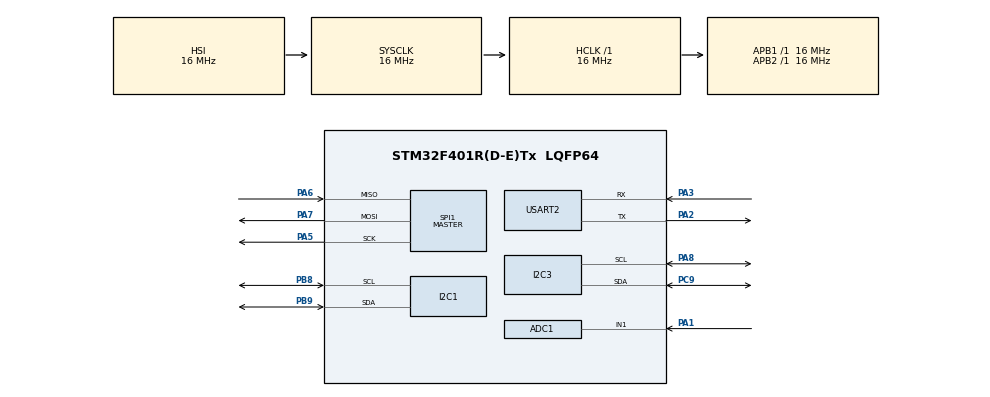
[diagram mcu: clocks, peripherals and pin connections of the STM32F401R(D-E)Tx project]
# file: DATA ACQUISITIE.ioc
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ADC1.Channel-0\#ChannelRegularConversion=ADC_CHANNEL_1
ADC1.NbrOfConversionFlag=1
ADC1.Rank-0\#ChannelRegularConversion=1
ADC1.SamplingTime-0\#ChannelRegularConversion=ADC_SAMPLETIME_3CYCLES
ADC1.master=1
Mcu.Family=STM32F4
Mcu.Name=STM32F401R(D-E)Tx
Mcu.Package=LQFP64
NVIC.PriorityGroup=NVIC_PRIORITYGROUP_4
PA1.Signal=ADCx_IN1
PA2.Mode=Asynchronous
PA2.Signal=USART2_TX
PA3.Mode=Asynchronous
PA3.Signal=USART2_RX
PA5.Mode=Full_Duplex_Master
PA5.Signal=SPI1_SCK
PA6.Mode=Full_Duplex_Master
PA6.Signal=SPI1_MISO
PA7.Mode=Full_Duplex_Master
PA7.Signal=SPI1_MOSI
PA8.Mode=I2C
PA8.Signal=I2C3_SCL
PB8.Mode=I2C
PB8.Signal=I2C1_SCL
PB9.Mode=I2C
PB9.Signal=I2C1_SDA
PC14-OSC32_IN.Mode=LSE-External-Oscillator
PC14-OSC32_IN.Signal=RCC_OSC32_IN
PC15-OSC32_OUT.Mode=LSE-External-Oscillator
PC15-OSC32_OUT.Signal=RCC_OSC32_OUT
PC9.Mode=I2C
PC9.Signal=I2C3_SDA
PH0\ -\ OSC_IN.Mode=HSE-External-Clock-Source
PH0\ -\ OSC_IN.Signal=RCC_OSC_IN
PH1\ -\ OSC_OUT.Mode=HSE-External-Clock-Source
PH1\ -\ OSC_OUT.Signal=RCC_OSC_OUT
ProjectManager.HeapSize=0x200
ProjectManager.StackSize=0x400
ProjectManager.TargetToolchain=STM32CubeIDE
RCC.AHBFreq_Value=16000000
RCC.APB1Freq_Value=16000000
RCC.APB2Freq_Value=16000000
RCC.CortexFreq_Value=16000000
RCC.HSE_VALUE=25000000
RCC.HSI_VALUE=16000000
RCC.SYSCLKFreq_VALUE=16000000
RCC.VCOOutputFreq_Value=192000000
SH.ADCx_IN1.0=ADC1_IN1,IN1
SPI1.Direction=SPI_DIRECTION_2LINES
SPI1.Mode=SPI_MODE_MASTER
SPI1.VirtualType=VM_MASTER
USART2.VirtualMode=VM_ASYNC
board=custom

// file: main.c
/* USER CODE BEGIN Header */
/**
  ******************************************************************************
  * @file           : main.c
  * @brief          : Main program body
  ******************************************************************************
  * @attention
  *
  * Copyright (c) 2024 STMicroelectronics.
  * All rights reserved.
  *
  * This software is licensed under terms that can be found in the LICENSE file
  * in the root directory of this software component.
  * If no LICENSE file comes with this software, it is provided AS-IS.
  *
  ******************************************************************************
  */
/* USER CODE END Header */
#include "main.h"

/* USER CODE BEGIN Includes */
#include <string.h>
#include <stdio.h>
#include <math.h>

#define BMP390_ADDR 0x77
#define BMP390_CHIP_ID_REG 0x00
#define BMP390_TEMP_DATA_REG 0x07  // Starting register for temperature data
#define BMP390_PRESS_DATA_REG 0x04 // Starting register for pressure data
#define BMP390_CTRL_MEAS_REG 0x1B
#define BMP390_CONFIG_REG 0x1F
#define BMP390_STATUS_REG 0x03
#define BMP390_SENSOR_TIME_0_REG 0x0C
#define BMP390_SENSOR_TIME_1_REG 0x0D
#define BMP390_SENSOR_TIME_2_REG 0x0E
#define BMP390_INT_CTRL_REG 0x19
#define BMP390_PWR_CTRL_REG 0x1B
#define BMP390_OSR_REG 0x1C
/* USER CODE END Includes */

/* USER CODE BEGIN PTD */
typedef struct {
	float par_t1;
	float par_t2;
	float par_t3;
	float par_p1;
	float par_p2;
	float par_p3;
	float par_p4;
	float par_p5;
	float par_p6;
	float par_p7;
	float par_p8;
	float par_p9;
	float par_p10;
	float par_p11;
	float t_lin;
} BMP390_CalibData;

BMP390_CalibData calib_data;

/* USER CODE END PTD */

ADC_HandleTypeDef hadc1;

I2C_HandleTypeDef hi2c1;
I2C_HandleTypeDef hi2c3;

SPI_HandleTypeDef hspi1;

UART_HandleTypeDef huart2;

/* USER CODE BEGIN PV */
//CO2-sensor//
uint8_t CO2_ADDR = 0x70 << 1;
uint8_t CO2_REG = 0x0C;
//light-sensor//
uint16_t lightLevel = 0;
char lightLevelBuf[20];
//temperature and humidity//
static const uint8_t HIH7120_ADDR =  0x27 << 1;
//static const uint8_t REG_TEMP = 0x00;

//druksensor//
void BMP390_init();
void BMP390_ReadCalibrationData();
float BMP390_CompensateTemperature(uint32_t uncomp_temp);
float BMP390_CompensatePressure(uint32_t uncomp_press);
uint32_t BMP390_Read24BitData(uint8_t reg_addr);
void USART_Print(char *string);
int8_t i2c_read(uint8_t reg_addr, uint8_t *reg_data, uint32_t len, void *intf_ptr);
int8_t i2c_write(uint8_t reg_addr, const uint8_t *reg_data, uint32_t len, void *intf_ptr);

//spi connection//
uint8_t txData[100];

/* USER CODE END PV */

void SystemClock_Config(void);
static void MX_GPIO_Init(void);
static void MX_ADC1_Init(void);
static void MX_I2C1_Init(void);
static void MX_I2C3_Init(void);
static void MX_SPI1_Init(void);
static void MX_USART2_UART_Init(void);
/* USER CODE BEGIN PFP */
HAL_StatusTypeDef SPI_SendData(uint8_t* data, uint16_t size);
/* USER CODE END PFP */

int main(void)
{

  /* USER CODE BEGIN 1 */
	//temperature and humidity//
	float humidity;
	float temperature;
	HAL_StatusTypeDef ret;
	int16_t val;
	uint16_t temp_c;
	uint8_t inputbuff[4];
	uint8_t buf[50];
	uint8_t reg; reg = 0x00;

	//CO2-sensor//
	uint16_t valueCO2 = 0;
	uint16_t valueVOC = 0;
	uint8_t CO2Read[34];

	//light-sensor//
	uint8_t buf2[12];
	uint16_t lightLevel = 0;
	char lightLevelBuf[20];
	uint8_t tx_Data[100];
  /* USER CODE END 1 */

  /* MCU Configuration--------------------------------------------------------*/

  /* Reset of all peripherals, Initializes the Flash interface and the Systick. */
  HAL_Init();

  /* Configure the system clock */
  SystemClock_Config();

  /* Initialize all configured peripherals */
  MX_GPIO_Init();
  MX_ADC1_Init();
  MX_I2C1_Init();
  MX_I2C3_Init();
  MX_SPI1_Init();
  MX_USART2_UART_Init();

  /* Infinite loop */
  /* USER CODE BEGIN WHILE */
  while (1)
  {
	  //spi-connection//
	  sprintf((char*)txData, "Temp:%u°C,Hum:%u,CO2:%uppm,VOC:%uppb,Pressure:%uPa,Light:%ulux\r\n", (unsigned int)temperature, (unsigned int)humidity, (unsigned int)valueCO2, (unsigned int)valueVOC, (unsigned int)lightLevel);
	  if (SPI_SendData(txData, sizeof(txData)) != HAL_OK) {
		  Error_Handler();
	  }

	  //temperature and humidity sensor//
	  // Step 1: Transmit the register address (0x00) to the sensor
	  ret = HAL_I2C_Master_Transmit(&hi2c3, HIH7120_ADDR, &reg, 1, HAL_MAX_DELAY);
	  HAL_Delay(250);
	  if ( ret != HAL_OK ) {
		  strcpy((char*)buf, "Error Tx\r\n");
	  }
	  else {// Step 2: Receive 4 bytes of data from the sensor into inputbuf
		  ret = HAL_I2C_Master_Receive(&hi2c3, HIH7120_ADDR, inputbuff, 4, HAL_MAX_DELAY);
		  HAL_Delay(250);
		  if ( ret != HAL_OK ){
			  strcpy((char*)buf, "Error Rx\r\n");
		  }
		  else {
			  uint16_t raw_humidity = (((uint16_t)(inputbuff[0] & 0x3f) << 8) | inputbuff[1]);// Humidity is in the first 2 bytes
			  uint16_t raw_temperature = (((uint16_t)inputbuff[2] << 6) | (inputbuff[3] >> 2));// Temperature is in the next 2 bytes
			  humidity = ((float)raw_humidity / 16382.0) * 100.0; // Convert raw data to actual humidity and temperature values
			  temperature = ((float)raw_temperature / 16382.0) * 165.0 - 40.0;
			  snprintf(buf, sizeof(buf), "Humidity: %.2f%%, Temperature: %.2f°C\r\n", humidity, temperature);// Format the data into the buffer
			  HAL_UART_Transmit(&huart2, (uint8_t*)buf, strlen(buf), HAL_MAX_DELAY);// Transmit the formatted string over UART
		  }
		  HAL_UART_Transmit(&huart2, (uint8_t*)buf, strlen(buf), HAL_MAX_DELAY);
	  }
	  //light-sensor//
	  strcpy((char*)buf2, "Hello!\r\n");
	  HAL_UART_Transmit(&huart2, buf, strlen((char*)buf2), HAL_MAX_DELAY);
	  HAL_ADC_Start(&hadc1);
	  HAL_ADC_PollForConversion(&hadc1, 20);
	  lightLevel = HAL_ADC_GetValue(&hadc1);
	  lightLevel = lightLevel / 4.095;
	  sprintf(lightLevelBuf, "lightLevel: %hu \r\n", lightLevel);
	  HAL_UART_Transmit(&huart2, (uint8_t *)lightLevelBuf, strlen(lightLevelBuf), HAL_MAX_DELAY);
	  HAL_Delay(500);

	  //CO2-sensor//
	  CO2Read[0] = CO2_REG;
	  ret = HAL_I2C_Master_Transmit(&hi2c1, CO2_ADDR, &CO2_REG, 1, HAL_MAX_DELAY);
	  HAL_Delay(250);
	  if (ret != HAL_OK){
	   strcpy((char*)CO2Read, "Error Tx\r\n");
	  } else {
	  ret = HAL_I2C_Master_Receive(&hi2c1, CO2_ADDR, CO2Read, 2, HAL_MAX_DELAY);
	  if (ret != HAL_OK){
	  strcpy((char*)CO2Read, "Error Rx\r\n");
	  } else {
	  valueVOC = ((uint16_t)CO2Read[0] - 13) * (1000/229); //in ppb
	  valueCO2 = ((uint16_t)CO2Read[1] - 13) * (1600/229) + 400; //in ppm
	  sprintf((char*)CO2Read, "CO2: %u ppm \r\nVOC: %u ppb \r\n", (unsigned int)valueCO2, (unsigned int)valueVOC);
	  }
	  }
	  HAL_UART_Transmit(&huart2, CO2Read, strlen((char*)CO2Read), HAL_MAX_DELAY);
	  HAL_Delay(250);

	  //druksensor//
	  uint32_t temp_raw = BMP390_Read24BitData(BMP390_TEMP_DATA_REG);
	  uint32_t press_raw = BMP390_Read24BitData(BMP390_PRESS_DATA_REG);

	  float temperature = BMP390_CompensateTemperature(temp_raw);
	  float pressure = BMP390_CompensatePressure(press_raw);

	  char output[100];
	  snprintf(output, sizeof(output), "Temperature: %.2f C, Pressure: %.2f hPa\r\n", temperature, pressure);
	  USART_Print(output);

	  HAL_Delay(1000);

  }

    /* USER CODE END WHILE */

}

void SystemClock_Config(void)
{
  RCC_OscInitTypeDef RCC_OscInitStruct = {0};
  RCC_ClkInitTypeDef RCC_ClkInitStruct = {0};

  /** Configure the main internal regulator output voltage
  */
  __HAL_RCC_PWR_CLK_ENABLE();
  __HAL_PWR_VOLTAGESCALING_CONFIG(PWR_REGULATOR_VOLTAGE_SCALE2);

  /** Initializes the RCC Oscillators according to the specified parameters
  * in the RCC_OscInitTypeDef structure.
  */
  RCC_OscInitStruct.OscillatorType = RCC_OSCILLATORTYPE_HSI;
  RCC_OscInitStruct.HSIState = RCC_HSI_ON;
  RCC_OscInitStruct.HSICalibrationValue = RCC_HSICALIBRATION_DEFAULT;
  RCC_OscInitStruct.PLL.PLLState = RCC_PLL_NONE;
  if (HAL_RCC_OscConfig(&RCC_OscInitStruct) != HAL_OK)
  {
    Error_Handler();
  }

  /** Initializes the CPU, AHB and APB buses clocks
  */
  RCC_ClkInitStruct.ClockType = RCC_CLOCKTYPE_HCLK|RCC_CLOCKTYPE_SYSCLK
                              |RCC_CLOCKTYPE_PCLK1|RCC_CLOCKTYPE_PCLK2;
  RCC_ClkInitStruct.SYSCLKSource = RCC_SYSCLKSOURCE_HSI;
  RCC_ClkInitStruct.AHBCLKDivider = RCC_SYSCLK_DIV1;
  RCC_ClkInitStruct.APB1CLKDivider = RCC_HCLK_DIV1;
  RCC_ClkInitStruct.APB2CLKDivider = RCC_HCLK_DIV1;

  if (HAL_RCC_ClockConfig(&RCC_ClkInitStruct, FLASH_LATENCY_0) != HAL_OK)
  {
    Error_Handler();
  }
}

static void MX_ADC1_Init(void)
{

  ADC_ChannelConfTypeDef sConfig = {0};

  /** Configure the global features of the ADC (Clock, Resolution, Data Alignment and number of conversion)
  */
  hadc1.Instance = ADC1;
  hadc1.Init.ClockPrescaler = ADC_CLOCK_SYNC_PCLK_DIV2;
  hadc1.Init.Resolution = ADC_RESOLUTION_12B;
  hadc1.Init.ScanConvMode = DISABLE;
  hadc1.Init.ContinuousConvMode = DISABLE;
  hadc1.Init.DiscontinuousConvMode = DISABLE;
  hadc1.Init.ExternalTrigConvEdge = ADC_EXTERNALTRIGCONVEDGE_NONE;
  hadc1.Init.ExternalTrigConv = ADC_SOFTWARE_START;
  hadc1.Init.DataAlign = ADC_DATAALIGN_RIGHT;
  hadc1.Init.NbrOfConversion = 1;
  hadc1.Init.DMAContinuousRequests = DISABLE;
  hadc1.Init.EOCSelection = ADC_EOC_SINGLE_CONV;
  if (HAL_ADC_Init(&hadc1) != HAL_OK)
  {
    Error_Handler();
  }

  /** Configure for the selected ADC regular channel its corresponding rank in the sequencer and its sample time.
  */
  sConfig.Channel = ADC_CHANNEL_1;
  sConfig.Rank = 1;
  sConfig.SamplingTime = ADC_SAMPLETIME_3CYCLES;
  if (HAL_ADC_ConfigChannel(&hadc1, &sConfig) != HAL_OK)
  {
    Error_Handler();
  }

}

static void MX_I2C1_Init(void)
{

  hi2c1.Instance = I2C1;
  hi2c1.Init.ClockSpeed = 100000;
  hi2c1.Init.DutyCycle = I2C_DUTYCYCLE_2;
  hi2c1.Init.OwnAddress1 = 0;
  hi2c1.Init.AddressingMode = I2C_ADDRESSINGMODE_7BIT;
  hi2c1.Init.DualAddressMode = I2C_DUALADDRESS_DISABLE;
  hi2c1.Init.OwnAddress2 = 0;
  hi2c1.Init.GeneralCallMode = I2C_GENERALCALL_DISABLE;
  hi2c1.Init.NoStretchMode = I2C_NOSTRETCH_DISABLE;
  if (HAL_I2C_Init(&hi2c1) != HAL_OK)
  {
    Error_Handler();
  }

}

static void MX_I2C3_Init(void)
{

  hi2c3.Instance = I2C3;
  hi2c3.Init.ClockSpeed = 100000;
  hi2c3.Init.DutyCycle = I2C_DUTYCYCLE_2;
  hi2c3.Init.OwnAddress1 = 0;
  hi2c3.Init.AddressingMode = I2C_ADDRESSINGMODE_7BIT;
  hi2c3.Init.DualAddressMode = I2C_DUALADDRESS_DISABLE;
  hi2c3.Init.OwnAddress2 = 0;
  hi2c3.Init.GeneralCallMode = I2C_GENERALCALL_DISABLE;
  hi2c3.Init.NoStretchMode = I2C_NOSTRETCH_DISABLE;
  if (HAL_I2C_Init(&hi2c3) != HAL_OK)
  {
    Error_Handler();
  }

}

static void MX_SPI1_Init(void)
{

  /* SPI1 parameter configuration*/
  hspi1.Instance = SPI1;
  hspi1.Init.Mode = SPI_MODE_MASTER;
  hspi1.Init.Direction = SPI_DIRECTION_2LINES;
  hspi1.Init.DataSize = SPI_DATASIZE_8BIT;
  hspi1.Init.CLKPolarity = SPI_POLARITY_LOW;
  hspi1.Init.CLKPhase = SPI_PHASE_1EDGE;
  hspi1.Init.NSS = SPI_NSS_SOFT;
  hspi1.Init.BaudRatePrescaler = SPI_BAUDRATEPRESCALER_2;
  hspi1.Init.FirstBit = SPI_FIRSTBIT_MSB;
  hspi1.Init.TIMode = SPI_TIMODE_DISABLE;
  hspi1.Init.CRCCalculation = SPI_CRCCALCULATION_DISABLE;
  hspi1.Init.CRCPolynomial = 10;
  if (HAL_SPI_Init(&hspi1) != HAL_OK)
  {
    Error_Handler();
  }

}

static void MX_USART2_UART_Init(void)
{

  huart2.Instance = USART2;
  huart2.Init.BaudRate = 115200;
  huart2.Init.WordLength = UART_WORDLENGTH_8B;
  huart2.Init.StopBits = UART_STOPBITS_1;
  huart2.Init.Parity = UART_PARITY_NONE;
  huart2.Init.Mode = UART_MODE_TX_RX;
  huart2.Init.HwFlowCtl = UART_HWCONTROL_NONE;
  huart2.Init.OverSampling = UART_OVERSAMPLING_16;
  if (HAL_UART_Init(&huart2) != HAL_OK)
  {
    Error_Handler();
  }

}

static void MX_GPIO_Init(void)
{

  /* GPIO Ports Clock Enable */
  __HAL_RCC_GPIOC_CLK_ENABLE();
  __HAL_RCC_GPIOH_CLK_ENABLE();
  __HAL_RCC_GPIOA_CLK_ENABLE();
  __HAL_RCC_GPIOB_CLK_ENABLE();

}

/* USER CODE BEGIN 4 */
//druksensor//
int8_t i2c_read(uint8_t reg_addr, uint8_t *reg_data, uint32_t len, void *intf_ptr) {
    I2C_HandleTypeDef *i2c = (I2C_HandleTypeDef *)intf_ptr;
    if (HAL_I2C_Mem_Read(i2c, BMP390_ADDR , reg_addr, 1, reg_data, len, HAL_MAX_DELAY)) {
        return HAL_ERROR;
    }
    return HAL_OK;
}

int8_t i2c_write(uint8_t reg_addr, const uint8_t *reg_data, uint32_t len, void *intf_ptr) {
    I2C_HandleTypeDef *i2c = (I2C_HandleTypeDef *)intf_ptr;
    if (HAL_I2C_Mem_Write(i2c, BMP390_ADDR, reg_addr, 1, (uint8_t *)reg_data, len, HAL_MAX_DELAY)) {
        return HAL_ERROR;
    }
    return HAL_OK;
}

void BMP390_init() {
    uint8_t data;

    data = 0x33;
    i2c_write(BMP390_CTRL_MEAS_REG, &data, 1, &hi2c1);

    data = 0x00;
    i2c_write(BMP390_CONFIG_REG, &data, 1, &hi2c1);
    BMP390_ReadCalibrationData();
}

void BMP390_ReadCalibrationData() {
    uint8_t calib_buffer[21];
    uint8_t calib_start_reg = 0x31;

    HAL_I2C_Mem_Read(&hi2c1, BMP390_ADDR, calib_start_reg, I2C_MEMADD_SIZE_8BIT, calib_buffer, sizeof(calib_buffer), HAL_MAX_DELAY);

    // Temperature parameters
    calib_data.par_t1 = (float)((calib_buffer[1] << 8) | calib_buffer[0]) / pow(2, 8);
    calib_data.par_t2 = (float)((calib_buffer[3] << 8) | calib_buffer[2]) / pow(2, 30);
    calib_data.par_t3 = (float)(calib_buffer[4]) / pow(2, 48);

    // Pressure parameters
    calib_data.par_p1 = (float)(((calib_buffer[6] << 8) | calib_buffer[5]) - pow(2, 14)) / pow(2, 20);
    calib_data.par_p2 = (float)(((calib_buffer[8] << 8) | calib_buffer[7]) - pow(2, 14)) / pow(2, 29);
    calib_data.par_p3 = (float)(calib_buffer[9]) / pow(2, 32);
    calib_data.par_p4 = (float)(calib_buffer[10]) / pow(2, 37);
    calib_data.par_p5 = (float)((calib_buffer[11])) / pow(2, -3);
    calib_data.par_p6 = (float)((calib_buffer[12])) / pow(2, 6);
    calib_data.par_p7 = (float)((calib_buffer[13])) / pow(2, 8);
    calib_data.par_p8 = (float)((calib_buffer[14])) / pow(2, 15);
    calib_data.par_p9 = (float)((calib_buffer[15])) / pow(2, 48);
    calib_data.par_p10 = (float)((calib_buffer[16])) / pow(2, 48);
    calib_data.par_p11 = (float)((calib_buffer[17])) / pow(2, 65);

    printf("Calibration Data:\n");
    printf("par_t1: %f, par_t2: %f, par_t3: %f\n", calib_data.par_t1, calib_data.par_t2, calib_data.par_t3);
    printf("par_p1: %f, par_p2: %f, par_p3: %f\n", calib_data.par_p1, calib_data.par_p2, calib_data.par_p3);

}

float BMP390_CompensateTemperature(uint32_t uncomp_temp) {
	float partial_data1 = ((float)uncomp_temp - calib_data.par_t1);
	float partial_data2 = partial_data1 * calib_data.par_t2;

	calib_data.t_lin = partial_data2 + (partial_data1 * partial_data1) * calib_data.par_t3;

	printf("Temperature Debug:\n");
	printf("uncomp_temp: %lu, partial_data1: %f, partial_data2: %f, t_lin: %f\n",
			uncomp_temp, partial_data1, partial_data2, calib_data.t_lin);
	return calib_data.t_lin;
}

float BMP390_CompensatePressure(uint32_t uncomp_press) {
	float partial_data1 = calib_data.par_p6 * calib_data.t_lin;
	float partial_data2 = calib_data.par_p7 * calib_data.t_lin * calib_data.t_lin;
	float partial_data3 = calib_data.par_p8 * calib_data.t_lin * calib_data.t_lin * calib_data.t_lin;
	float partial_out1 = calib_data.par_p5 + partial_data1 + partial_data2 + partial_data3;

	partial_data1 = calib_data.par_p2 * calib_data.t_lin;
	partial_data2 = calib_data.par_p3 * calib_data.t_lin * calib_data.t_lin;
	partial_data3 = calib_data.par_p4 * calib_data.t_lin * calib_data.t_lin * calib_data.t_lin;
	float partial_out2 = (float)uncomp_press * (calib_data.par_p1 + partial_data1 + partial_data2 + partial_data3);

	partial_data1 = (float)uncomp_press * (float)uncomp_press;
	partial_data2 = calib_data.par_p9 + calib_data.par_p10 * calib_data.t_lin;
	partial_data3 = partial_data1 * partial_data2;
	float partial_data4 = partial_data1 * (float)uncomp_press * calib_data.par_p11;

	float comp_press = partial_out1 + partial_out2 + partial_data3 + partial_data4;

	printf("Pressure Debug:\n");
	printf("uncomp_press: %lu, partial_out1: %f, partial_out2: %f, comp_press: %f\n",
			uncomp_press, partial_out1, partial_out2, comp_press);

	return comp_press / 100.0f;
}

uint32_t BMP390_Read24BitData(uint8_t reg_addr) {
	uint8_t buffer[3];
	i2c_read(reg_addr, buffer, 3, &hi2c1);
	return ((uint32_t)buffer[0] << 16) | ((uint32_t)buffer[1] << 8) | buffer[2];
}

void USART_Print(char *string) {
    HAL_UART_Transmit(&huart2, (uint8_t*)string, strlen(string), HAL_MAX_DELAY);
}
//SPI-connection//
HAL_StatusTypeDef SPI_SendData(uint8_t* data, uint16_t size) {
	return HAL_SPI_Transmit(&hspi1, data, size, HAL_MAX_DELAY);
}
/* USER CODE END 4 */

void Error_Handler(void)
{
  __disable_irq();
  while (1)
  {
  }
}
